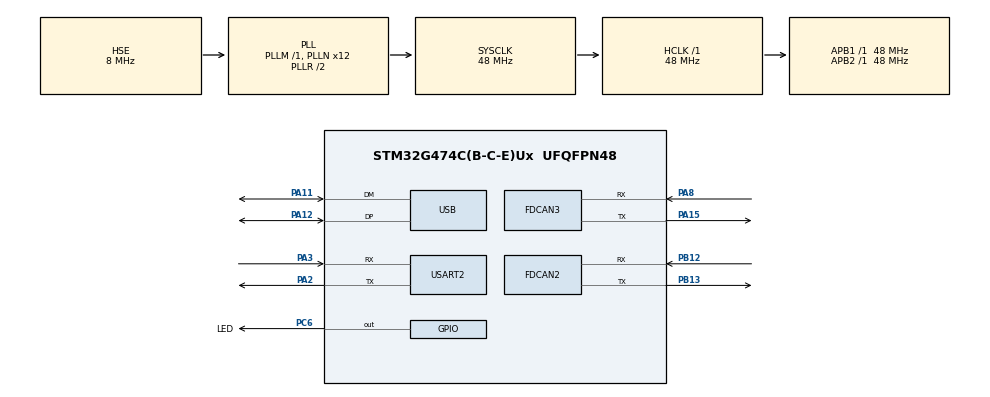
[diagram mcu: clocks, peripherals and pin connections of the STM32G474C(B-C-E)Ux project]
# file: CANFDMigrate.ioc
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FDCAN2.CalculateBaudRateNominal=1000000
FDCAN2.CalculateTimeBitNominal=1000
FDCAN2.CalculateTimeQuantumNominal=20.833333333333332
FDCAN2.DataPrescaler=2
FDCAN2.DataSyncJumpWidth=5
FDCAN2.DataTimeSeg1=18
FDCAN2.DataTimeSeg2=5
FDCAN2.NominalPrescaler=1
FDCAN2.NominalSyncJumpWidth=7
FDCAN2.NominalTimeSeg1=40
FDCAN2.NominalTimeSeg2=7
FDCAN3.CalculateBaudRateNominal=1000000
FDCAN3.CalculateTimeBitNominal=1000
FDCAN3.CalculateTimeQuantumNominal=20.833333333333332
FDCAN3.DataPrescaler=2
FDCAN3.DataSyncJumpWidth=5
FDCAN3.DataTimeSeg1=18
FDCAN3.DataTimeSeg2=5
FDCAN3.NominalPrescaler=1
FDCAN3.NominalSyncJumpWidth=7
FDCAN3.NominalTimeSeg1=40
FDCAN3.NominalTimeSeg2=7
Mcu.Family=STM32G4
Mcu.Name=STM32G474C(B-C-E)Ux
Mcu.Package=UFQFPN48
NVIC.FDCAN2_IT0_IRQn=true\:0\:0\:false\:false\:true\:true\:true\:true
NVIC.FDCAN2_IT1_IRQn=true\:0\:0\:false\:false\:true\:true\:true\:true
NVIC.FDCAN3_IT0_IRQn=true\:0\:0\:false\:false\:true\:true\:true\:true
NVIC.FDCAN3_IT1_IRQn=true\:0\:0\:false\:false\:true\:true\:true\:true
NVIC.PriorityGroup=NVIC_PRIORITYGROUP_4
NVIC.USB_LP_IRQn=true\:0\:0\:false\:false\:true\:false\:true\:true
PA11.Mode=Device
PA11.Signal=USB_DM
PA12.Mode=Device
PA12.Signal=USB_DP
PA13.Mode=Serial_Wire
PA13.Signal=SYS_JTMS-SWDIO
PA14.Mode=Serial_Wire
PA14.Signal=SYS_JTCK-SWCLK
PA15.Mode=FDCAN_Activate
PA15.Signal=FDCAN3_TX
PA2.Mode=Asynchronous
PA2.Signal=USART2_TX
PA3.Mode=Asynchronous
PA3.Signal=USART2_RX
PA8.Mode=FDCAN_Activate
PA8.Signal=FDCAN3_RX
PB12.Mode=FDCAN_Activate
PB12.Signal=FDCAN2_RX
PB13.Mode=FDCAN_Activate
PB13.Signal=FDCAN2_TX
PC14-OSC32_IN.Mode=LSE-External-Oscillator
PC14-OSC32_IN.Signal=RCC_OSC32_IN
PC15-OSC32_OUT.Mode=LSE-External-Oscillator
PC15-OSC32_OUT.Signal=RCC_OSC32_OUT
PC6.GPIO_Label=LED
PC6.Signal=GPIO_Output
PF0-OSC_IN.Mode=HSE-External-Oscillator
PF0-OSC_IN.Signal=RCC_OSC_IN
PF1-OSC_OUT.Mode=HSE-External-Oscillator
PF1-OSC_OUT.Signal=RCC_OSC_OUT
ProjectManager.HeapSize=0x200
ProjectManager.StackSize=0x400
ProjectManager.TargetToolchain=STM32CubeIDE
RCC.ADC12Freq_Value=48000000
RCC.ADC345Freq_Value=48000000
RCC.AHBFreq_Value=48000000
RCC.APB1Freq_Value=48000000
RCC.APB1TimFreq_Value=48000000
RCC.APB2Freq_Value=48000000
RCC.APB2TimFreq_Value=48000000
RCC.CortexFreq_Value=48000000
RCC.EXTERNAL_CLOCK_VALUE=12288000
RCC.FDCANCLockSelection=RCC_FDCANCLKSOURCE_PLL
RCC.HCLKFreq_Value=48000000
RCC.HSE_VALUE=8000000
RCC.HSI48_VALUE=48000000
RCC.HSI_VALUE=16000000
RCC.PLLN=12
RCC.PLLSourceVirtual=RCC_PLLSOURCE_HSE
RCC.RTCClockSelection=RCC_RTCCLKSOURCE_LSE
RCC.SYSCLKFreq_VALUE=48000000
RCC.SYSCLKSource=RCC_SYSCLKSOURCE_PLLCLK
RCC.USBFreq_Value=48000000
RCC.VCOOutputFreq_Value=96000000
USART2.VirtualMode-Asynchronous=VM_ASYNC
USB_DEVICE.CLASS_NAME_FS=CDC
USB_DEVICE.VirtualMode=Cdc
USB_DEVICE.VirtualModeFS=Cdc_FS
VP_RTC_VS_RTC_Activate.Mode=RTC_Enabled
VP_SYS_VS_DBSignals.Mode=DisableDeadBatterySignals
VP_USB_DEVICE_VS_USB_DEVICE_CDC_FS.Mode=CDC_FS
board=custom

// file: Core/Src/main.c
/* USER CODE BEGIN Header */
/**
  ******************************************************************************
  * @file           : main.c
  * @brief          : Main program body
  ******************************************************************************
  * @attention
  *
  * Copyright (c) 2025 STMicroelectronics.
  * All rights reserved.
  *
  * This software is licensed under terms that can be found in the LICENSE file
  * in the root directory of this software component.
  * If no LICENSE file comes with this software, it is provided AS-IS.
  *
  ******************************************************************************
  */
/* USER CODE END Header */
#include "main.h"
#include "fdcan.h"
#include "rtc.h"
#include "usart.h"
#include "usb_device.h"
#include "gpio.h"

/* USER CODE BEGIN PV */
extern FDCAN_HandleTypeDef hfdcan2;
extern FDCAN_HandleTypeDef hfdcan3;

FDCAN_FilterTypeDef sFilterConfig;
FDCAN_TxHeaderTypeDef TxHeader;
FDCAN_RxHeaderTypeDef RxHeader;
uint8_t TxData_C2_To_C3[64];
uint8_t RxData_C3[8];
volatile int txDone = 0;

/* USER CODE END PV */

void SystemClock_Config(void);
/* USER CODE BEGIN PFP */
static void check_can_bus(FDCAN_HandleTypeDef *hfdcan)
{
  FDCAN_ProtocolStatusTypeDef protocolStatus = {};

  HAL_FDCAN_GetProtocolStatus(hfdcan, &protocolStatus);
  if (protocolStatus.BusOff) {
    CLEAR_BIT(hfdcan->Instance->CCCR, FDCAN_CCCR_INIT);
  }
}

void HAL_FDCAN_ErrorStatusCallback(FDCAN_HandleTypeDef *hfdcan, uint32_t ErrorStatusITs)
{
  if (hfdcan == &hfdcan2) {
    if ((ErrorStatusITs & FDCAN_IT_BUS_OFF) != RESET) {
      check_can_bus(hfdcan);
    }
  }
}
/* USER CODE END PFP */

int main(void)
{

  /* MCU Configuration--------------------------------------------------------*/

  /* Reset of all peripherals, Initializes the Flash interface and the Systick. */
  HAL_Init();

  /* Configure the system clock */
  SystemClock_Config();

  /* Initialize all configured peripherals */
  MX_GPIO_Init();
  MX_RTC_Init();
  MX_FDCAN2_Init();
  MX_FDCAN3_Init();
  MX_USART2_UART_Init();
  MX_USB_Device_Init();
  /* USER CODE BEGIN 2 */
  TxHeader.Identifier = 0x123; // Standard ID
  TxHeader.IdType = FDCAN_STANDARD_ID;
  TxHeader.TxFrameType = FDCAN_DATA_FRAME;
  TxHeader.DataLength = FDCAN_DLC_BYTES_8;
  TxHeader.ErrorStateIndicator = FDCAN_ESI_ACTIVE;
  TxHeader.BitRateSwitch = FDCAN_BRS_OFF;
  TxHeader.FDFormat = FDCAN_FD_CAN;
  TxHeader.TxEventFifoControl = FDCAN_NO_TX_EVENTS;
  TxHeader.MessageMarker = 0;
  TxData_C2_To_C3[0]=0b10101010;
  for(uint8_t i=1;i<64;i++){
	  TxData_C2_To_C3[i]=2*i+2;
  }
//
  sFilterConfig.IdType = FDCAN_STANDARD_ID;
  sFilterConfig.FilterIndex = 0;
  sFilterConfig.FilterType = FDCAN_FILTER_MASK;
  sFilterConfig.FilterConfig = FDCAN_FILTER_TO_RXFIFO0;
  sFilterConfig.FilterID1 = 0x123;
  sFilterConfig.FilterID2 = 0x123;

  if (HAL_FDCAN_ConfigFilter(&hfdcan2, &sFilterConfig) != HAL_OK
		  || HAL_FDCAN_ConfigFilter(&hfdcan3, &sFilterConfig) != HAL_OK) {
	  Error_Handler();
  }

  HAL_FDCAN_ConfigTxDelayCompensation(&hfdcan2, 38, 0);
  HAL_FDCAN_EnableTxDelayCompensation(&hfdcan2);

  HAL_FDCAN_ActivateNotification(
      &hfdcan2,
      FDCAN_IT_RX_FIFO0_NEW_MESSAGE |   // RX FIFO0 new message
      FDCAN_IT_TX_COMPLETE |            // TX completed and acknowledged
      FDCAN_IT_ERROR_WARNING |          // error warning limit reached
      FDCAN_IT_BUS_OFF |                // bus-off state
      FDCAN_IT_ARB_PROTOCOL_ERROR,          // protocol error detected
      0
  );
  HAL_FDCAN_ActivateNotification(
      &hfdcan3,
      FDCAN_IT_RX_FIFO0_NEW_MESSAGE |   // RX FIFO0 new message
      FDCAN_IT_TX_COMPLETE |            // TX completed and acknowledged
      FDCAN_IT_ERROR_WARNING |          // error warning limit reached
      FDCAN_IT_BUS_OFF |                // bus-off state
      FDCAN_IT_ARB_PROTOCOL_ERROR,          // protocol error detected
      0
  );

  HAL_FDCAN_Start(&hfdcan2);
  HAL_FDCAN_Start(&hfdcan3);

  /* USER CODE END 2 */

  /* Infinite loop */
  /* USER CODE BEGIN WHILE */

  while (1)
  {
	HAL_GPIO_TogglePin(LED_GPIO_Port, LED_Pin);
	if (HAL_FDCAN_AddMessageToTxFifoQ(&hfdcan2, &TxHeader, TxData_C2_To_C3) != HAL_OK) {
		  Error_Handler();
	}

	while (HAL_FDCAN_IsTxBufferMessagePending(&hfdcan2, FDCAN_TX_BUFFER0)) {
		HAL_Delay(100);
	    FDCAN_ProtocolStatusTypeDef status;
	    HAL_FDCAN_GetProtocolStatus(&hfdcan2, &status);
	    printf("Hello from USB CDC! Tick: %lu\r\n", HAL_GetTick());
	          printf("BusOff: %d, Activity: %d, LastErrorCode: %d, RX FIFO Fill: %lu\n",
	      status.BusOff, status.Activity, status.LastErrorCode,
	      HAL_FDCAN_GetRxFifoFillLevel(&hfdcan2, FDCAN_RX_FIFO0));
    };

  }

}

void SystemClock_Config(void)
{
  RCC_OscInitTypeDef RCC_OscInitStruct = {0};
  RCC_ClkInitTypeDef RCC_ClkInitStruct = {0};

  /** Configure the main internal regulator output voltage
  */
  HAL_PWREx_ControlVoltageScaling(PWR_REGULATOR_VOLTAGE_SCALE1);

  /** Configure LSE Drive Capability
  */
  HAL_PWR_EnableBkUpAccess();
  __HAL_RCC_LSEDRIVE_CONFIG(RCC_LSEDRIVE_LOW);

  /** Initializes the RCC Oscillators according to the specified parameters
  * in the RCC_OscInitTypeDef structure.
  */
  RCC_OscInitStruct.OscillatorType = RCC_OSCILLATORTYPE_HSE|RCC_OSCILLATORTYPE_LSE;
  RCC_OscInitStruct.HSEState = RCC_HSE_ON;
  RCC_OscInitStruct.LSEState = RCC_LSE_ON;
  RCC_OscInitStruct.PLL.PLLState = RCC_PLL_ON;
  RCC_OscInitStruct.PLL.PLLSource = RCC_PLLSOURCE_HSE;
  RCC_OscInitStruct.PLL.PLLM = RCC_PLLM_DIV1;
  RCC_OscInitStruct.PLL.PLLN = 12;
  RCC_OscInitStruct.PLL.PLLP = RCC_PLLP_DIV2;
  RCC_OscInitStruct.PLL.PLLQ = RCC_PLLQ_DIV2;
  RCC_OscInitStruct.PLL.PLLR = RCC_PLLR_DIV2;
  if (HAL_RCC_OscConfig(&RCC_OscInitStruct) != HAL_OK)
  {
    Error_Handler();
  }

  /** Initializes the CPU, AHB and APB buses clocks
  */
  RCC_ClkInitStruct.ClockType = RCC_CLOCKTYPE_HCLK|RCC_CLOCKTYPE_SYSCLK
                              |RCC_CLOCKTYPE_PCLK1|RCC_CLOCKTYPE_PCLK2;
  RCC_ClkInitStruct.SYSCLKSource = RCC_SYSCLKSOURCE_PLLCLK;
  RCC_ClkInitStruct.AHBCLKDivider = RCC_SYSCLK_DIV1;
  RCC_ClkInitStruct.APB1CLKDivider = RCC_HCLK_DIV1;
  RCC_ClkInitStruct.APB2CLKDivider = RCC_HCLK_DIV1;

  if (HAL_RCC_ClockConfig(&RCC_ClkInitStruct, FLASH_LATENCY_1) != HAL_OK)
  {
    Error_Handler();
  }
}

/* USER CODE BEGIN 4 */

void HAL_FDCAN_TxBufferCompleteCallback(FDCAN_HandleTypeDef *hfdcan, uint32_t BufferIndexes)
{
	 if(hfdcan == &hfdcan2) {
	    txDone = 1;
	 }
}

int _write(int file, char *ptr, int len) {
    CDC_Transmit_FS((uint8_t*)ptr, len);
    return len;
}

void HAL_FDCAN_RxFifo0Callback(FDCAN_HandleTypeDef *hfdcan, uint32_t RxFifo0ITs){
	HAL_FDCAN_GetRxMessage(hfdcan, FDCAN_RX_FIFO0, &RxHeader, RxData_C3);
    // if(RxData[0]){
    //     digitalWrite(PC2, 1);
    // }
    // else{
    //     digitalWrite(PC2, 0);
    // }
    printf("HIHI I HEAR YOU!");

}
/* USER CODE END 4 */

void Error_Handler(void)
{
  __disable_irq();
  while (1)
  {
  }
}
